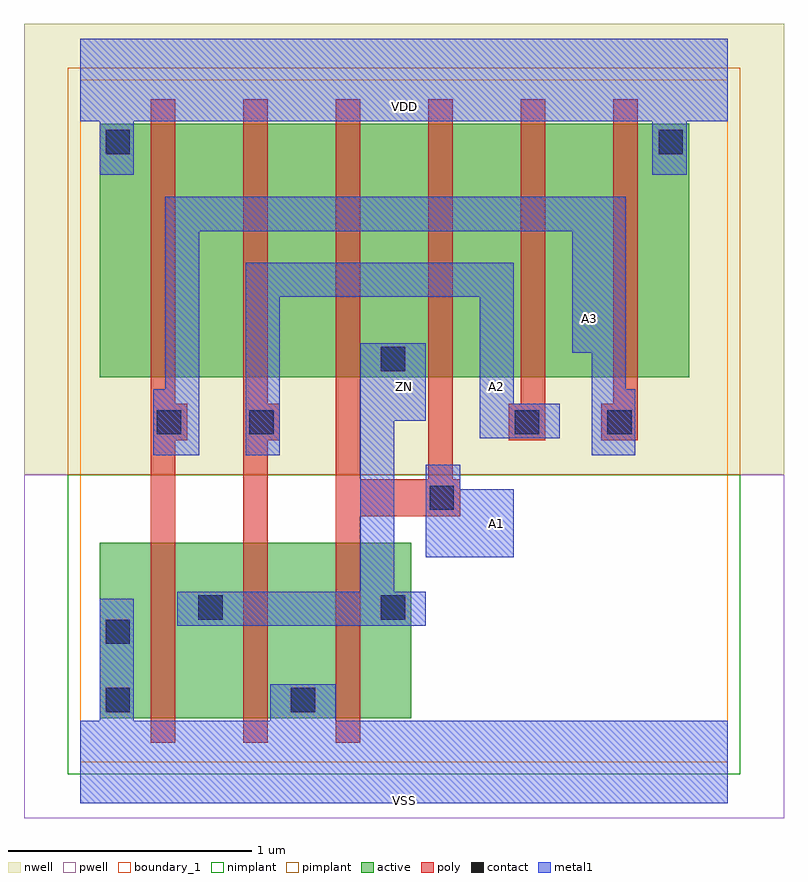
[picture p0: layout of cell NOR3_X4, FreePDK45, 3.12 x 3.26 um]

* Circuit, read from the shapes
.subckt NOR3_X4 A1 A2 A3 VDD VSS ZN
M1 ZN A3 VSS VSUBS nfet w=0.72u l=0.1u
M2 VSS A2 ZN VSUBS nfet w=0.72u l=0.1u
M3 ZN A1 VSS VSUBS nfet w=0.72u l=0.1u
M4 n1 A3 VDD n2 pfet w=1.04u l=0.1u
M5 n3 A2 n1 n2 pfet w=1.04u l=0.1u
M6 ZN A1 n3 n2 pfet w=1.04u l=0.1u
M7 n4 A1 ZN n2 pfet w=1.04u l=0.1u
M8 n5 A2 n4 n2 pfet w=1.04u l=0.1u
M9 VDD A3 n5 n2 pfet w=1.04u l=0.1u
.ends

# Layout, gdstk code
import gdstk
lib = gdstk.Library(unit=1e-6, precision=1e-09)
def R(c, l, rs):  # rectangles x0, y0, x1, y1
    for r in rs: c.add(gdstk.rectangle(r[:2], r[2:], *l))
def P(c, l, *ps):  # polygons
    for p in ps: c.add(gdstk.Polygon(p, *l))
active = (1, 0)
pwell = (2, 0)
nwell = (3, 0)
nimplant = (4, 0)
pimplant = (5, 0)
poly = (9, 0)
contact = (10, 0)
metal1 = (11, 0)
boundary_1 = (235, 1)

nor3_x4 = lib.new_cell('NOR3_X4')
R(nor3_x4, active, [(0.08,0.18,1.36,0.9), (0.08,1.58,2.5,2.62)])
R(nor3_x4, pwell, [(-0.23,-0.23,2.89,1.18)])
R(nor3_x4, nwell, [(-0.23,1.18,2.89,3.03)])
R(nor3_x4, nimplant, [(-0.05,-0.05,2.71,1.18)])
R(nor3_x4, pimplant, [(-0.05,1.18,2.71,2.85)])
P(nor3_x4, poly, [(2.14,1.32),(2.29,1.32),(2.29,2.72),(2.19,2.72),(2.19,1.47),(2.14,1.47)],
  [(1.76,1.32),(1.91,1.32),(1.91,2.72),(1.81,2.72),(1.81,1.47),(1.76,1.47)],
  [(1.05,0.08),(1.15,0.08),(1.15,1.01),(1.56,1.01),(1.56,1.16),(1.53,1.16),(1.53,2.72),(1.43,2.72),(1.43,1.16),(1.15,1.16),(1.15,2.72),(1.05,2.72)],
  [(0.67,0.08),(0.77,0.08),(0.77,1.32),(0.82,1.32),(0.82,1.47),(0.77,1.47),(0.77,2.72),(0.67,2.72)],
  [(0.29,0.08),(0.39,0.08),(0.39,1.32),(0.44,1.32),(0.44,1.47),(0.39,1.47),(0.39,2.72),(0.29,2.72)])
R(nor3_x4, contact, [(0.105,0.205,0.205,0.305), (0.865,0.205,0.965,0.305), (0.105,0.485,0.205,0.585), (0.485,0.585,0.585,0.685), (1.235,0.585,1.335,0.685), (1.435,1.035,1.535,1.135), (0.315,1.345,0.415,1.445), (0.695,1.345,0.795,1.445), (1.785,1.345,1.885,1.445), (2.165,1.345,2.265,1.445), (1.235,1.605,1.335,1.705), (0.105,2.495,0.205,2.595), (2.375,2.495,2.475,2.595)])
P(nor3_x4, metal1, [(1.29,1.4),(1.42,1.4),(1.42,1.72),(1.15,1.72),(1.15,0.7),(0.4,0.7),(0.4,0.56),(1.42,0.56),(1.42,0.7),(1.29,0.7)],
  [(0.68,1.26),(0.82,1.26),(0.82,1.91),(1.64,1.91),(1.64,1.33),(1.97,1.33),(1.97,1.47),(1.78,1.47),(1.78,2.05),(0.68,2.05)],
  [(0,-0.17),(2.66,-0.17),(2.66,0.17),(1.05,0.17),(1.05,0.32),(0.78,0.32),(0.78,0.17),(0.22,0.17),(0.22,0.67),(0.08,0.67),(0.08,0.17),(0,0.17)],
  [(1.42,0.84),(1.78,0.84),(1.78,1.12),(1.56,1.12),(1.56,1.22),(1.42,1.22)],
  [(0.3,1.26),(0.49,1.26),(0.49,2.18),(2.02,2.18),(2.02,1.68),(2.1,1.68),(2.1,1.26),(2.28,1.26),(2.28,1.53),(2.24,1.53),(2.24,2.32),(0.35,2.32),(0.35,1.53),(0.3,1.53)],
  [(0,2.63),(0.08,2.63),(0.08,2.41),(0.22,2.41),(0.22,2.63),(2.35,2.63),(2.35,2.41),(2.49,2.41),(2.49,2.63),(2.66,2.63),(2.66,2.97),(0,2.97)],
  [(0,2.63),(0.08,2.63),(0.08,2.41),(0.22,2.41),(0.22,2.63),(2.35,2.63),(2.35,2.41),(2.49,2.41),(2.49,2.63),(2.66,2.63),(2.66,2.97),(0,2.97)],
  [(0,-0.17),(2.66,-0.17),(2.66,0.17),(1.05,0.17),(1.05,0.32),(0.78,0.32),(0.78,0.17),(0.22,0.17),(0.22,0.67),(0.08,0.67),(0.08,0.17),(0,0.17)],
  [(0.3,1.26),(0.49,1.26),(0.49,2.18),(2.02,2.18),(2.02,1.68),(2.1,1.68),(2.1,1.26),(2.28,1.26),(2.28,1.53),(2.24,1.53),(2.24,2.32),(0.35,2.32),(0.35,1.53),(0.3,1.53)],
  [(0.68,1.26),(0.82,1.26),(0.82,1.91),(1.64,1.91),(1.64,1.33),(1.97,1.33),(1.97,1.47),(1.78,1.47),(1.78,2.05),(0.68,2.05)],
  [(1.42,0.84),(1.78,0.84),(1.78,1.12),(1.56,1.12),(1.56,1.22),(1.42,1.22)],
  [(1.29,1.4),(1.42,1.4),(1.42,1.72),(1.15,1.72),(1.15,0.7),(0.4,0.7),(0.4,0.56),(1.42,0.56),(1.42,0.7),(1.29,0.7)])
R(nor3_x4, boundary_1, [(0,0,2.66,2.8)])
nor3_x4.add(gdstk.Label('ZN', (1.33,1.54), layer=11, texttype=0))
nor3_x4.add(gdstk.Label('VSS', (1.33,-0.16), layer=11, texttype=0))
nor3_x4.add(gdstk.Label('VDD', (1.33,2.69), layer=11, texttype=0))
nor3_x4.add(gdstk.Label('A3', (2.09,1.82), layer=11, texttype=0))
nor3_x4.add(gdstk.Label('A2', (1.71,1.54), layer=11, texttype=0))
nor3_x4.add(gdstk.Label('A1', (1.71,0.98), layer=11, texttype=0))

lib.write_gds('NOR3_X4.gds')
